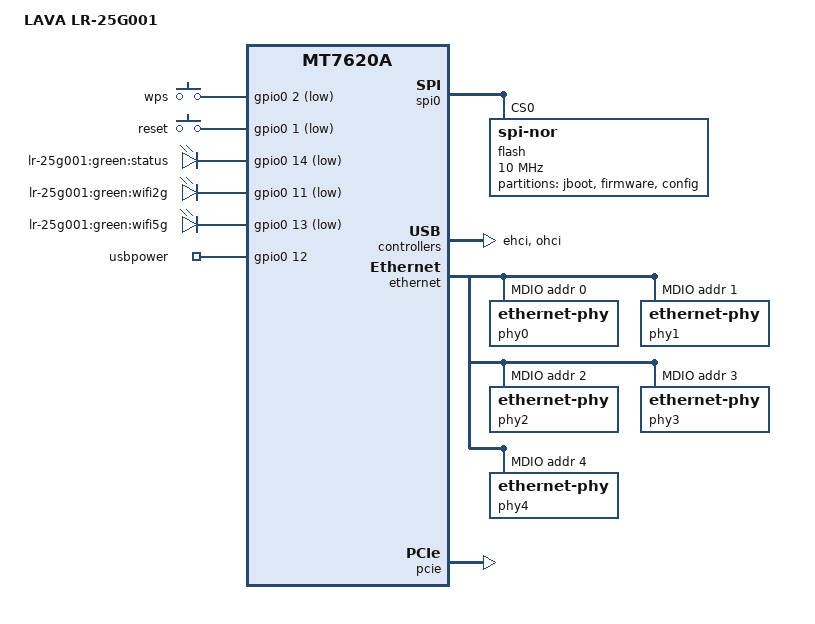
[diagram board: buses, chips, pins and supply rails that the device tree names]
/dts-v1/;

#include "mt7620a.dtsi"

#include <dt-bindings/gpio/gpio.h>
#include <dt-bindings/input/input.h>

/ {
	compatible = "lava,lr-25g001", "ralink,mt7620a-soc";
	model = "LAVA LR-25G001";

	aliases {
		led-boot = &led_status;
		led-failsafe = &led_status;
		led-running = &led_status;
		led-upgrade = &led_status;
	};

	keys {
		compatible = "gpio-keys-polled";
		poll-interval = <20>;

		wps {
			label = "wps";
			gpios = <&gpio0 2 GPIO_ACTIVE_LOW>;
			linux,code = <KEY_WPS_BUTTON>;
		};

		reset {
			label = "reset";
			gpios = <&gpio0 1 GPIO_ACTIVE_LOW>;
			linux,code = <KEY_RESTART>;
		};
	};

	leds {
		compatible = "gpio-leds";

		led_status: status {
			label = "lr-25g001:green:status";
			gpios = <&gpio0 14 GPIO_ACTIVE_LOW>;
		};

		wifi2g {
			label = "lr-25g001:green:wifi2g";
			gpios = <&gpio0 11 GPIO_ACTIVE_LOW>;
		};

		wifi5g {
			label = "lr-25g001:green:wifi5g";
			gpios = <&gpio0 13 GPIO_ACTIVE_LOW>;
		};
	};

	gpio_export {
		compatible = "gpio-export";
		#size-cells = <0>;

		usbpower {
			gpio-export,name = "usbpower";
			gpio-export,output = <1>;
			gpios = <&gpio0 12 GPIO_ACTIVE_HIGH>;
		};
	};
};

&gpio0 {
	status = "okay";
};

&spi0 {
	status = "okay";

	flash@0 {
		compatible = "jedec,spi-nor";
		reg = <0>;
		spi-max-frequency = <10000000>;

		partitions {
			compatible = "fixed-partitions";
			#address-cells = <1>;
			#size-cells = <1>;

			partition@0 {
				label = "jboot";
				reg = <0x0 0x10000>;
				read-only;
			};

			partition@10000 {
				compatible = "amit,jimage";
				label = "firmware";
				reg = <0x10000 0xfe0000>;
			};

			config: partition@ff0000 {
				label = "config";
				reg = <0xff0000 0x10000>;
				read-only;
			};
		};
	};
};

&ehci {
	status = "okay";
};

&ohci {
	status = "okay";
};

&ethernet {
	status = "okay";
	pinctrl-names = "default";
	pinctrl-0 = <&rgmii1_pins &rgmii2_pins &mdio_pins>;

	port@5 {
		status = "okay";
		phy-mode = "rgmii";
		mediatek,fixed-link = <1000 1 1 1>;
	};

	mdio-bus {
		status = "okay";
		mediatek,mdio-mode = <1>;

		phy0: ethernet-phy@0 {
			reg = <0>;
			phy-mode = "rgmii";
			qca,ar8327-initvals = <
				0x04 0x87300000 /* PORT0 PAD MODE CTRL */
				0x0c 0x00000000 /* PORT6 PAD MODE CTRL */
				0x7c 0x0000007e /* PORT0_STATUS */
				0x94 0x00000000 /* PORT6_STATUS */
			>;
		};

		phy1: ethernet-phy@1 {
			reg = <1>;
			phy-mode = "rgmii";
		};

		phy2: ethernet-phy@2 {
			reg = <2>;
			phy-mode = "rgmii";
		};

		phy3: ethernet-phy@3 {
			reg = <3>;
			phy-mode = "rgmii";
		};

		phy4: ethernet-phy@4 {
			reg = <4>;
			phy-mode = "rgmii";
		};
	};
};

&pcie {
	status = "okay";
};

&pcie0 {
	mt76x0e@0,0 {
		reg = <0x0000 0 0 0 0>;
		mtd-mac-address = <&config 0xe07e>;
		mtd-mac-address-increment = <(2)>;
		mediatek,mtd-eeprom = <&config 0xe08a>;
	};
};

&pinctrl {
	state_default: pinctrl0 {
		gpio {
			ralink,group = "uartf", "i2c";
			ralink,function = "gpio";
		};
	};
};
